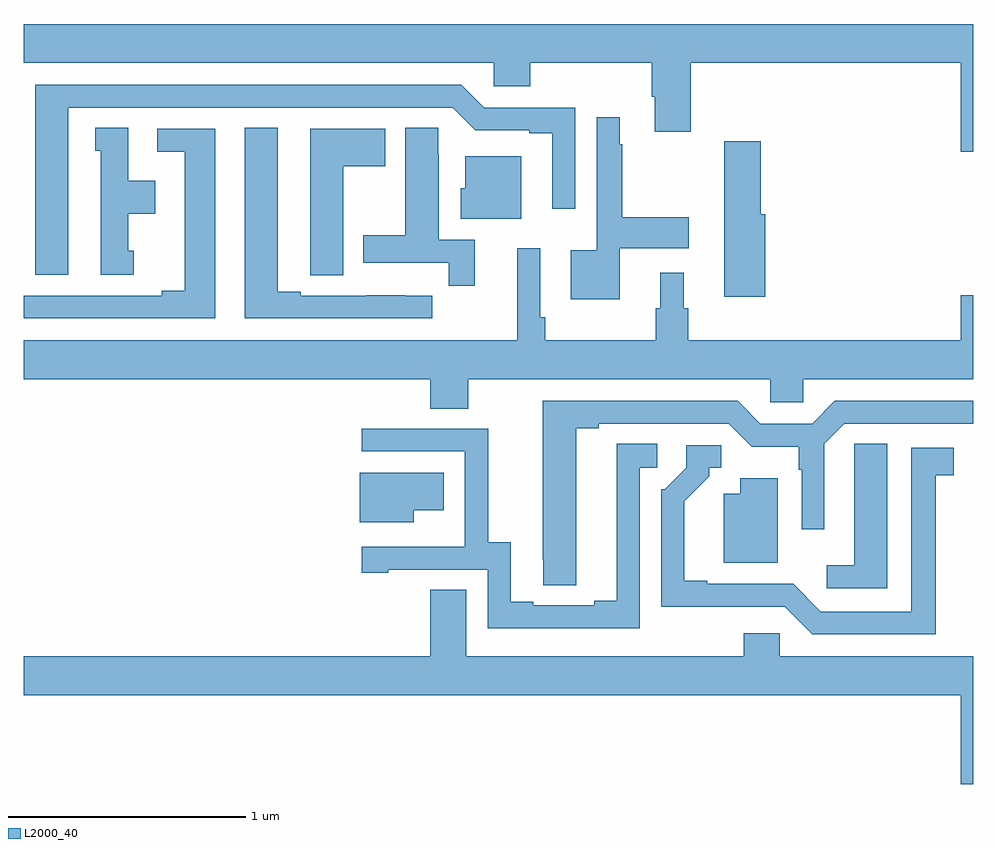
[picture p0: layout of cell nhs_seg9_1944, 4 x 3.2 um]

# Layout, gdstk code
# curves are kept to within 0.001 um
import gdstk
lib = gdstk.Library(unit=1e-6, precision=1e-09)
def P(c, l, *ps):  # polygons
    for p in ps: c.add(gdstk.Polygon(p, *l))
L2000_40 = (2000, 40)

nhs_seg9_1944 = lib.new_cell('nhs_seg9_1944')
P(nhs_seg9_1944, L2000_40, [(225,1185.928),(221,1185.928),(221,1185.764),(222.981,1185.764),(222.981,1185.666),(223.133,1185.666),(223.133,1185.764),(223.646,1185.764),(223.646,1185.622),(223.658,1185.622),(223.658,1185.474),(223.811,1185.474),(223.811,1185.764),(224.948,1185.764),(224.948,1185.39),(225,1185.39)],
  [(221.188,1185.576),(222.807,1185.576),(222.903,1185.48),(223.13,1185.48),(223.13,1185.468),(223.226,1185.468),(223.226,1185.15),(223.323,1185.15),(223.323,1185.576),(222.939,1185.576),(222.843,1185.672),(221.048,1185.672),(221.048,1184.871),(221.188,1184.871)],
  [(223.51,1184.984),(223.801,1184.984),(223.801,1185.114),(223.522,1185.114),(223.522,1185.422),(223.51,1185.422),(223.51,1185.535),(223.413,1185.535),(223.413,1184.974),(223.304,1184.974),(223.304,1184.768),(223.51,1184.768)],
  [(222.721,1184.784),(222.608,1184.784),(222.608,1184.785),(222.442,1184.785),(222.442,1184.784),(222.166,1184.784),(222.166,1184.799),(222.07,1184.799),(222.07,1185.491),(221.93,1185.491),(221.93,1184.688),(222.721,1184.688)],
  [(222.899,1185.018),(222.748,1185.018),(222.748,1185.38),(222.747,1185.38),(222.747,1185.491),(222.608,1185.491),(222.608,1185.039),(222.431,1185.039),(222.431,1184.922),(222.79,1184.922),(222.79,1184.826),(222.899,1184.826)],
  [(221.464,1184.973),(221.44,1184.973),(221.44,1185.128),(221.554,1185.128),(221.554,1185.268),(221.44,1185.268),(221.44,1185.491),(221.3,1185.491),(221.3,1185.393),(221.324,1185.393),(221.324,1184.871),(221.464,1184.871)],
  [(222.346,1185.328),(222.523,1185.328),(222.523,1185.487),(222.206,1185.487),(222.206,1184.977),(222.207,1184.977),(222.207,1184.869),(222.346,1184.869)],
  [(221.806,1185.486),(221.562,1185.486),(221.562,1185.39),(221.678,1185.39),(221.678,1184.804),(221.582,1184.804),(221.582,1184.784),(221,1184.784),(221,1184.688),(221.806,1184.688)],
  [(224.123,1185.126),(224.105,1185.126),(224.105,1185.433),(223.951,1185.433),(223.951,1185.126),(223.952,1185.126),(223.952,1184.778),(224.123,1184.778)],
  [(223.096,1185.37),(222.86,1185.37),(222.86,1185.237),(222.842,1185.237),(222.842,1185.107),(223.096,1185.107)],
  [(222.873,1184.432),(224.145,1184.432),(224.145,1184.334),(224.283,1184.334),(224.283,1184.432),(225,1184.432),(225,1184.785),(224.948,1184.785),(224.948,1184.596),(223.799,1184.596),(223.799,1184.73),(223.78,1184.73),(223.78,1184.881),(223.682,1184.881),(223.682,1184.73),(223.663,1184.73),(223.663,1184.596),(223.196,1184.596),(223.196,1184.692),(223.176,1184.692),(223.176,1184.983),(223.079,1184.983),(223.079,1184.596),(221,1184.596),(221,1184.432),(222.713,1184.432),(222.713,1184.308),(222.873,1184.308)],
  [(223.327,1184.224),(223.423,1184.224),(223.423,1184.244),(223.971,1184.244),(224.068,1184.147),(224.265,1184.147),(224.265,1184.051),(224.277,1184.051),(224.277,1183.8),(224.373,1183.8),(224.373,1184.16),(224.457,1184.244),(225,1184.244),(225,1184.34),(224.417,1184.34),(224.321,1184.244),(224.103,1184.244),(224.007,1184.34),(223.187,1184.34),(223.188,1183.564),(223.327,1183.564)],
  [(223.596,1184.058),(223.669,1184.058),(223.669,1184.159),(223.499,1184.159),(223.499,1183.499),(223.403,1183.499),(223.403,1183.479),(223.147,1183.479),(223.147,1183.494),(223.051,1183.494),(223.051,1183.745),(222.957,1183.745),(222.957,1184.223),(222.423,1184.223),(222.423,1184.127),(222.858,1184.127),(222.858,1183.726),(222.857,1183.726),(222.857,1183.725),(222.423,1183.725),(222.423,1183.617),(222.535,1183.617),(222.535,1183.629),(222.954,1183.629),(222.954,1183.383),(223.596,1183.383)],
  [(224.638,1184.159),(224.499,1184.159),(224.499,1184.051),(224.498,1184.051),(224.498,1183.648),(224.382,1183.648),(224.382,1183.551),(224.638,1183.551)],
  [(224.842,1184.026),(224.917,1184.026),(224.917,1184.142),(224.738,1184.142),(224.738,1183.452),(224.358,1183.452),(224.241,1183.569),(223.879,1183.569),(223.879,1183.582),(223.783,1183.582),(223.783,1183.918),(223.888,1184.023),(223.888,1184.058),(223.939,1184.058),(223.939,1184.154),(223.791,1184.154),(223.791,1184.058),(223.701,1183.968),(223.686,1183.968),(223.686,1183.472),(224.205,1183.473),(224.322,1183.356),(224.842,1183.356)],
  [(222.643,1183.88),(222.769,1183.88),(222.769,1184.038),(222.416,1184.038),(222.416,1183.829),(222.643,1183.829)],
  [(224.176,1184.014),(224.018,1184.014),(224.018,1183.948),(223.949,1183.948),(223.949,1183.658),(224.176,1183.658)],
  [(225,1183.264),(224.184,1183.264),(224.184,1183.362),(224.033,1183.362),(224.033,1183.264),(222.865,1183.264),(222.865,1183.544),(222.713,1183.544),(222.713,1183.264),(221,1183.264),(221,1183.1),(224.948,1183.1),(224.948,1182.726),(225,1182.726)])

lib.write_gds('nhs_seg9_1944.gds')
